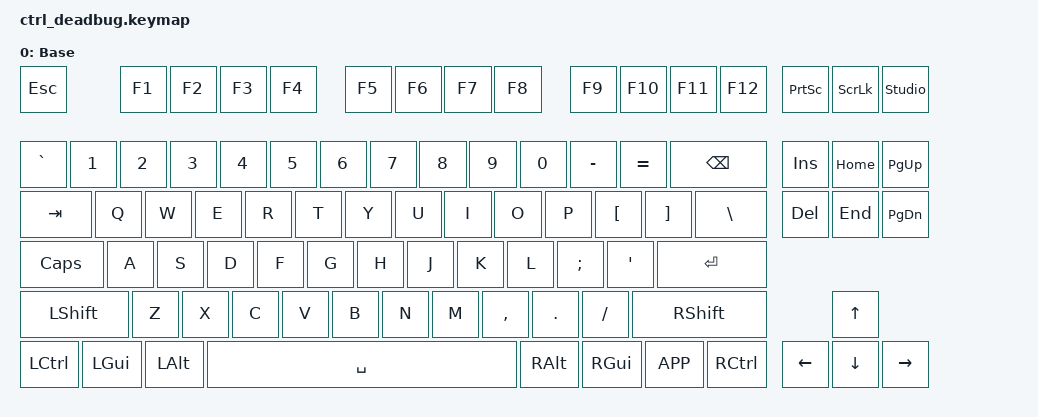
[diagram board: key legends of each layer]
#include <behaviors.dtsi>
#include <dt-bindings/zmk/keys.h>

/ {
    keymap {
        compatible = "zmk,keymap";

        default_layer {
            display-name = "Base";
            bindings = <
                &kp ESC    &kp F1    &kp F2    &kp F3    &kp F4    &kp F5    &kp F6    &kp F7    &kp F8    &kp F9    &kp F10    &kp F11    &kp F12    &kp PSCRN    &kp SLCK    &studio_unlock
                &kp GRAVE  &kp N1    &kp N2    &kp N3    &kp N4    &kp N5    &kp N6    &kp N7    &kp N8    &kp N9    &kp N0     &kp MINUS  &kp EQUAL  &kp BSPC     &kp INS     &kp HOME    &kp PG_UP
                &kp TAB    &kp Q     &kp W     &kp E     &kp R     &kp T     &kp Y     &kp U     &kp I     &kp O     &kp P      &kp LBKT   &kp RBKT   &kp BSLH     &kp DEL     &kp END     &kp PG_DN
                &kp CAPS   &kp A     &kp S     &kp D     &kp F     &kp G     &kp H     &kp J     &kp K     &kp L     &kp SEMI   &kp APOS   &kp ENTER
                &kp LSHFT  &kp Z     &kp X     &kp C     &kp V     &kp B     &kp N     &kp M     &kp COMMA &kp DOT   &kp FSLH   &kp RSHFT  &kp UP
                &kp LCTRL  &kp LGUI  &kp LALT  &kp SPACE &kp RALT  &kp RGUI  &kp K_APP &kp RCTRL &kp LEFT  &kp DOWN  &kp RIGHT
            >;
        };
    };
};
